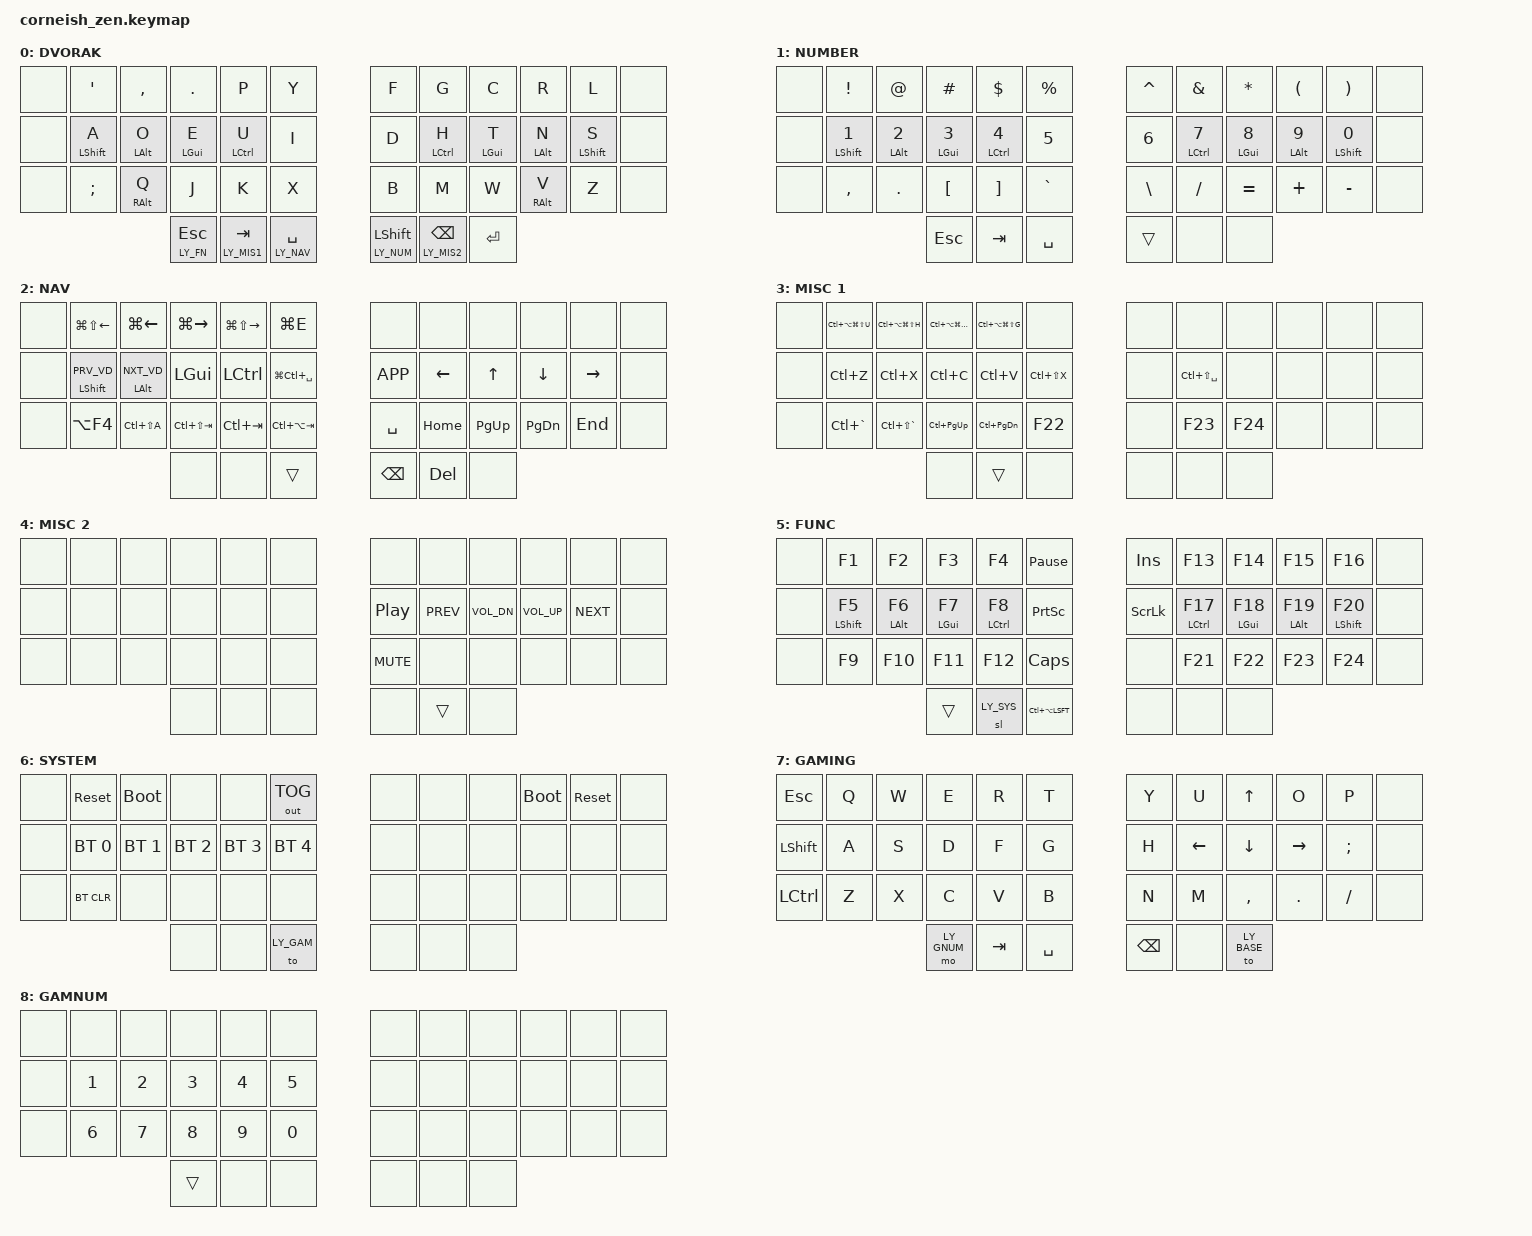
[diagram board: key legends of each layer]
#include <behaviors.dtsi>
#include <dt-bindings/zmk/bt.h>
#include <dt-bindings/zmk/keys.h>
#include <dt-bindings/zmk/outputs.h>

/ {
  chosen {
    zmk,matrix_transform = &default_transform;
    //zmk,matrix_transform = &five_column_transform;
  };
};

// User-friendly definitions for key positions
#include "../keypos_def/keypos_42keys.h"
#define KEYS_L LT0 LT1 LT2 LT3 LT4 LT5 LM0 LM1 LM2 LM3 LM4 LM5 LB0 LB1 LB2 LB3 LB4 LB5 // left-hand keys
#define KEYS_R RT0 RT1 RT2 RT3 RT4 RT5 RM0 RM1 RM2 RM3 RM4 RM5 RB0 RB1 RB2 RB3 RB4 RB5 // right-hand keys
#define THUMBS LH2 LH1 LH0 RH0 RH1 RH2                                                 // thumb keys

// Desktop and tab navigation shortcuts
#define PRV_VD  LC(LG(LEFT))
#define NXT_VD  LC(LG(RIGHT))
#define PRV_TAB LC(LS(TAB))
#define NXT_TAB LC(TAB)
#define GS_LFT  LG(LS(LEFT))
#define GS_RGT  LG(LS(RIGHT))
#define G_LFT   LG(LEFT)
#define G_RGT   LG(RIGHT)
#define CA_TAB  LC(LA(TAB))
#define CA_LSFT LC(LA(LSFT))
#define PS_BRK  PAUSE_BREAK // Just for brevity

// Application shortcuts
#define GIT_GRAPH LC(LA(LG(LS(G))))
#define FOLD_UP   LC(LA(LG(LS(U))))
#define FILE_HIST LC(LA(LG(LS(H))))
#define GH_PERMA  LC(LA(LG(LS(M))))
#define TERM      LC(GRAVE)
#define NEW_TERM  LC(LS(GRAVE))
#define PRV_TERM  LC(PG_UP)
#define NXT_TERM  LC(PG_DN)
#define OPSWD_BRW LC(LS(X))
#define OPSWD_WIN LC(LS(SPACE))
#define PTOYS_RUN LG(LC(SPACE))

// Layers
#define LY_BASE 0
#define LY_NUM  1
#define LY_NAV  2
#define LY_MIS1 3
#define LY_MIS2 4
#define LY_FN   5
#define LY_SYS  6
#define LY_GAM  7
#define LY_GNUM 8

// Configuration for sticky-key behavior
&sk {
  release-after-ms = <500>;
  quick-release;
};

// Configuration for home-row mods
#define QUICK_TAP_MS 100
#define REQUIRE_PRIOR_IDLE_MS 100
#define TAP_TERM_MS 200
/ {
  behaviors {
    // Homerow mod for left hand
    hml: hml {
      label = "ZB_hml";
      compatible = "zmk,behavior-hold-tap";
      #binding-cells = <2>;
      flavor = "tap-preferred";
      bindings = <&kp>, <&kp>;
      tapping-term-ms = <TAP_TERM_MS>;
      quick-tap-ms = <QUICK_TAP_MS>;
      require-prior-idle-ms = <REQUIRE_PRIOR_IDLE_MS>;
      hold-trigger-on-release;
      hold-trigger-key-positions = <KEYS_R THUMBS>;
    };

    // Homerow mod for right hand
    hmr: hmr {
      label = "ZB_hmr";
      compatible = "zmk,behavior-hold-tap";
      #binding-cells = <2>;
      flavor = "tap-preferred";
      bindings = <&kp>, <&kp>;
      tapping-term-ms = <TAP_TERM_MS>;
      quick-tap-ms = <QUICK_TAP_MS>;
      require-prior-idle-ms = <REQUIRE_PRIOR_IDLE_MS>;
      hold-trigger-on-release;
      hold-trigger-key-positions = <KEYS_L THUMBS>;
    };

    td_layers: td_layers {
      compatible = "zmk,behavior-tap-dance";
      label = "TD_LAYERS";
      #binding-cells = <0>;
      tapping-term-ms = <200>;
      bindings = <&to LY_BASE>, <&to LY_GAM>;
    };

    // Momentary layer or sticky key, for right thumb
    mo_sk: mo_sk {
      label = "ZB_mo_sk";
      compatible = "zmk,behavior-hold-tap";
      #binding-cells = <2>;
      flavor = "tap-preferred";
      bindings = <&mo>, <&sk>;
      tapping-term-ms = <TAP_TERM_MS>;
    };
  };
};

/ {
  macros {
//     ZMK_MACRO(term,
//       wait-ms = <20>;
//       tap-ms = <20>;
//       bindings = <&macro_press &kp LCTRL>
//                , <&macro_tap &kp GRAVE>
//                , <&macro_release &kp LCTRL>;
//     )
    };
};

// ¯\_(ツ)_/¯

// Thumb keys for base layer
#define THUMB1 &lt LY_FN ESC
#define THUMB2 &lt LY_MIS1 TAB
#define THUMB3 &lt LY_NAV SPACE
#define THUMB4 &mo_sk LY_NUM LSHFT
#define THUMB5 &lt LY_MIS2 BSPC
#define THUMB6 &kp ENTER

#define NAV_LM4 &mt LSHFT PRV_VD
#define NAV_LM3 &mt LALT NXT_VD

/ {
    combos {
        compatible = "zmk,combos";

        // Caps word on main thumb keys
        combo_caps_word {
            timeout-ms = <50>;
            key-positions = <LH0 RH0>;
            bindings = <&caps_word>;
        };
    };
};

/ {
  keymap {
    compatible = "zmk,keymap";

// &out OUT_TOG
// OUT_USB	Prefer sending to USB
// OUT_BLE	Prefer sending to the current bluetooth profile
// OUT_TOG	Toggle between USB and BLE

// Mouse keys
// https://github.com/manna-harbour/miryoku_zmk#mouse-keys
// https://github.com/doththouevenhoist/zmk-config-Corne-ish-Zen/blob/4cafe5ca22919e84e826a7413b5f4b092ada6730/config/corne-ish_zen.keymap#L10

    base_layer {
      label = "DVORAK";
      bindings = <
      // ╭─────────────┬─────────────┬─────────────┬─────────────┬─────────────┬─────────────╮ ╭─────────────┬─────────────┬─────────────┬─────────────┬─────────────┬─────────────╮
      // ├             ┼      '      ┼      ,      ┼      .      ┼      P      ┼      Y      ┤ ├      F      ┼      G      ┼      C      ┼      R      ┼      L      ┼             ┤
      // ├─────────────┼─────────────┼─────────────┼─────────────┼─────────────┼─────────────┤ ├─────────────┼─────────────┼─────────────┼─────────────┼─────────────┼─────────────┤
      // ├             ┼  LSHFT / A  ┼  LALT / O   ┼  LGUI / E   ┼  LCTRL / U  ┼      I      ┤ ├      D      ┼  LCTRL / H  ┼  LGUI / T   ┼  LALT / N   ┼  LSHFT / S  ┼             ┤
      // ├─────────────┼─────────────┼─────────────┼─────────────┼─────────────┼─────────────┤ ├─────────────┼─────────────┼─────────────┼─────────────┼─────────────┼─────────────┤
      // ├             ┼      ;      ┼  RALT / Q   ┼      J      ┼      K      ┼      X      ┤ ├      B      ┼      M      ┼      W      ┼  RALT / V   ┼      Z      ┼             ┤
      // ╰───────────────────────────┴─────────────┼─────────────┼─────────────┼─────────────┤ ├─────────────┼─────────────┼─────────────┼─────────────┴───────────────────────────╯
      //                                           ├ ESC / LY_FN ┼ TAB / LY_MS1┼ SPC / LY_NAV┤ ├ SS / LY_NUM ┼BKSP / LY_MS2┼    ENTER    ┤
      //                                           ╰─────────────┴─────────────┴─────────────╯ ╰─────────────┴─────────────┴─────────────╯
          &none         &kp SQT       &kp COMMA     &kp DOT       &kp P         &kp Y           &kp F         &kp G         &kp C         &kp R         &kp L         &none
          &none         &hml LSHFT A  &hml LALT O   &hml LGUI E   &hml LCTRL U  &kp I           &kp D         &hmr LCTRL H  &hmr LGUI T   &hmr LALT N   &hmr LSHFT S  &none
          &none         &kp SEMI      &hml RALT Q   &kp J         &kp K         &kp X           &kp B         &kp M         &kp W         &hmr RALT V   &kp Z         &none
                                                    THUMB1        THUMB2        THUMB3          THUMB4        THUMB5        THUMB6
      >;
    };

    numbers_layer {
      label = "NUMBER";
      bindings = <
      // ╭─────────────┬─────────────┬─────────────┬─────────────┬─────────────┬─────────────╮ ╭─────────────┬─────────────┬─────────────┬─────────────┬─────────────┬─────────────╮
      // ├             ┼      !      ┼      @      ┼      #      ┼      $      ┼      %      ┤ ├      ^      ┼      &      ┼      *      ┼      (      ┼      )      ┼             ┤
      // ├─────────────┼─────────────┼─────────────┼─────────────┼─────────────┼─────────────┤ ├─────────────┼─────────────┼─────────────┼─────────────┼─────────────┼─────────────┤
      // ├             ┼  LSHFT / 1  ┼  LALT / 2   ┼  LGUI / 3   ┼  LCTRL / 4  ┼      5      ┤ ├      6      ┼  LCTRL / 7  ┼  LGUI / 8   ┼  LALT / 9   ┼  LSHFT / 0  ┼             ┤
      // ├─────────────┼─────────────┼─────────────┼─────────────┼─────────────┼─────────────┤ ├─────────────┼─────────────┼─────────────┼─────────────┼─────────────┼─────────────┤
      // ├             ┼      ,      ┼      .      ┼      [      ┼      ]      ┼      `      ┤ ├      \      ┼      /      ┼      =      ┼      +      ┼      -      ┼             ┤
      // ╰───────────────────────────┴─────────────┼─────────────┼─────────────┼─────────────┤ ├─────────────┼─────────────┼─────────────┼─────────────┴───────────────────────────╯
      //                                           ├     ESC     ┼     TAB     ┼    SPACE    ┤ ├ // HELD //  ┼             ┼             ┤
      //                                           ╰─────────────┴─────────────┴─────────────╯ ╰─────────────┴─────────────┴─────────────╯
          &none         &kp EXCL      &kp AT        &kp HASH      &kp DOLLAR    &kp PERCENT     &kp CARET     &kp AMPS      &kp ASTRK     &kp LPAR      &kp RPAR       &none
          &none         &hml LSHFT N1 &hml LALT N2  &hml LGUI N3  &hml LCTRL N4 &kp N5          &kp N6        &hmr LCTRL N7 &hmr LGUI N8  &hmr LALT N9  &hmr LSHFT N0  &none
          &none         &kp COMMA     &kp DOT       &kp LBKT      &kp RBKT      &kp GRAVE       &kp BSLH      &kp FSLH      &kp EQUAL     &kp PLUS      &kp MINUS      &none
                                                    &kp ESC       &kp TAB       &kp SPACE       &trans        &none         &none
      >;
    };

    nav_layer {
      label = "NAV";
      bindings = <
      // ╭─────────────┬─────────────┬─────────────┬─────────────┬─────────────┬─────────────╮ ╭─────────────┬─────────────┬─────────────┬─────────────┬─────────────┬─────────────╮
      // ├             ┼ WIN PRV MON ┼ SNP WIN LFT ┼ SNP WIN RGT ┼ WIN NXT MON ┼ Win Explorer┤ ├             ┼             ┼             ┼             ┼             ┼             ┤
      // ├─────────────┼─────────────┼─────────────┼─────────────┼─────────────┼─────────────┤ ├─────────────┼─────────────┼─────────────┼─────────────┼─────────────┼─────────────┤
      // ├             ┼ LSHFT/PRV_VD┼ LALT/NXT_VD ┼     LGUI    ┼    LCTRL    ┼ PwrToys Run ┤ ├ CONTEXT MENU┼    LEFT     ┼     UP      ┼     DOWN    ┼    RIGHT    ┼             ┤
      // ├─────────────┼─────────────┼─────────────┼─────────────┼─────────────┼─────────────┤ ├─────────────┼─────────────┼─────────────┼─────────────┼─────────────┼─────────────┤
      // ├             ┼  Alt + F4   ┼  Tab search ┼  PREV TAB   ┼  NEXT TAB   ┼ CTRL ALT TAB┤ ├     SPC     ┼    HOME     ┼   PAGE UP   ┼  PAGE DOWN  ┼     END     ┼             ┤
      // ╰───────────────────────────┴─────────────┼─────────────┼─────────────┼─────────────┤ ├─────────────┼─────────────┼─────────────┼─────────────┴───────────────────────────╯
      //                                           ├             ┼             ┼ // HELD //  ┤ ├     BKSP    ┼     DEL     ┼             ┤
      //                                           ╰─────────────┴─────────────┴─────────────╯ ╰─────────────┴─────────────┴─────────────╯
          &none         &kp GS_LFT    &kp G_LFT     &kp G_RGT     &kp GS_RGT    &kp LG(E)       &none         &none         &none         &none         &none         &none
          &none         NAV_LM4       NAV_LM3       &kp LGUI      &kp LCTRL     &kp PTOYS_RUN   &kp K_APP     &kp LEFT      &kp UP        &kp DOWN      &kp RIGHT     &none
          &none         &kp LA(F4)    &kp LC(LS(A)) &kp PRV_TAB   &kp NXT_TAB   &kp CA_TAB      &kp SPACE     &kp HOME      &kp PG_UP     &kp PG_DN     &kp END       &none
                                                    &none         &none         &trans          &kp BSPC      &kp DEL       &none
      >;
    };

    misc1_layer {
      label = "MISC 1";
      bindings = <
      // ╭─────────────┬─────────────┬─────────────┬─────────────┬─────────────┬─────────────╮ ╭─────────────┬─────────────┬─────────────┬─────────────┬─────────────┬─────────────╮
      // ├             ┼ Next Fold Up┼  File Hist  ┼ GH Permalink┼  Git Graph  ┼             ┤ ├             ┼             ┼             ┼             ┼             ┼             ┤
      // ├─────────────┼─────────────┼─────────────┼─────────────┼─────────────┼─────────────┤ ├─────────────┼─────────────┼─────────────┼─────────────┼─────────────┼─────────────┤
      // ├             ┼    Undo     ┼     Cut     ┼    Copy     ┼    Paste    ┼  1Pswd Brw  ┤ ├             ┼  1Pswd Win  ┼             ┼             ┼             ┼             ┤
      // ├─────────────┼─────────────┼─────────────┼─────────────┼─────────────┼─────────────┤ ├─────────────┼─────────────┼─────────────┼─────────────┼─────────────┼─────────────┤
      // ├             ┼  Terminal   ┼  New Term   ┼  Prev Term  ┼  Next Term  ┼ ToggleFocus ┤ ├             ┼ Trm Height+ ┼ Trm Height- ┼             ┼             ┼             ┤
      // ╰───────────────────────────┴─────────────┼─────────────┼─────────────┼─────────────┤ ├─────────────┼─────────────┼─────────────┼─────────────┴───────────────────────────╯
      //                                           ├             ┼ // HELD //  ┼             ┤ ├             ┼             ┼             ┤
      //                                           ╰─────────────┴─────────────┴─────────────╯ ╰─────────────┴─────────────┴─────────────╯
          &none         &kp FOLD_UP   &kp FILE_HIST &kp GH_PERMA  &kp GIT_GRAPH &none           &none         &none         &none         &none         &none         &none
          &none         &kp LC(Z)     &kp LC(X)     &kp LC(C)     &kp LC(V)     &kp OPSWD_BRW   &none         &kp OPSWD_WIN &none         &none         &none         &none
          &none         &kp TERM      &kp NEW_TERM  &kp PRV_TERM  &kp NXT_TERM  &kp F22         &none         &kp F23       &kp F24       &none         &none         &none
                                                    &none         &trans        &none           &none         &none         &none
      >;
    };

    misc2_layer {
      label = "MISC 2";
      bindings = <
      // ╭─────────────┬─────────────┬─────────────┬─────────────┬─────────────┬─────────────╮ ╭─────────────┬─────────────┬─────────────┬─────────────┬─────────────┬─────────────╮
      // ├             ┼             ┼             ┼             ┼             ┼             ┤ ├             ┼             ┼             ┼             ┼             ┼             ┤
      // ├─────────────┼─────────────┼─────────────┼─────────────┼─────────────┼─────────────┤ ├─────────────┼─────────────┼─────────────┼─────────────┼─────────────┼─────────────┤
      // ├             ┼             ┼             ┼             ┼             ┼             ┤ ├ Play/Pause  ┼ Media Prev  ┼  Vol Down   ┼   Vol Up    ┼ Media Next  ┼             ┤
      // ├─────────────┼─────────────┼─────────────┼─────────────┼─────────────┼─────────────┤ ├─────────────┼─────────────┼─────────────┼─────────────┼─────────────┼─────────────┤
      // ├             ┼             ┼             ┼             ┼             ┼             ┤ ├    Mute     ┼             ┼             ┼             ┼             ┼             ┤
      // ╰───────────────────────────┴─────────────┼─────────────┼─────────────┼─────────────┤ ├─────────────┼─────────────┼─────────────┼─────────────┴───────────────────────────╯
      //                                           ├             ┼             ┼             ┤ ├             ┼ // HELD //  ┼             ┤
      //                                           ╰─────────────┴─────────────┴─────────────╯ ╰─────────────┴─────────────┴─────────────╯
          &none         &none         &none         &none         &none         &none           &none         &none         &none         &none         &none         &none
          &none         &none         &none         &none         &none         &none           &kp C_PP      &kp C_PREV    &kp C_VOL_DN  &kp C_VOL_UP  &kp C_NEXT    &none
          &none         &none         &none         &none         &none         &none           &kp C_MUTE    &none         &none         &none         &none         &none
                                                    &none         &none         &none           &none         &trans        &none
      >;
    };

    function_layer {
      label = "FUNC";
      bindings = <
      // ╭─────────────┬─────────────┬─────────────┬─────────────┬─────────────┬─────────────╮ ╭─────────────┬─────────────┬─────────────┬─────────────┬─────────────┬─────────────╮
      // ├             ┼     F1      ┼     F2      ┼     F3      ┼     F4      ┼  Pause/Brk  ┤ ├   INSERT    ┼     F13     ┼     F14     ┼     F15     ┼     F16     ┼             ┤
      // ├─────────────┼─────────────┼─────────────┼─────────────┼─────────────┼─────────────┤ ├─────────────┼─────────────┼─────────────┼─────────────┼─────────────┼─────────────┤
      // ├             ┼  LCTRL / F5 ┼  LGUI / F6  ┼  LALT / F7  ┼ LSHFT / F8  ┼ PrintScreen ┤ ├ Scroll Lock ┼ LCTRL / F17 ┼  LGUI / F18 ┼  LALT / F19 ┼ LSHFT / F20 ┼             ┤
      // ├─────────────┼─────────────┼─────────────┼─────────────┼─────────────┼─────────────┤ ├─────────────┼─────────────┼─────────────┼─────────────┼─────────────┼─────────────┤
      // ├             ┼     F9      ┼     F10     ┼     F11     ┼     F12     ┼  CAPS LOCK  ┤ ├             ┼     F21     ┼     F22     ┼     F23     ┼     F24     ┼             ┤
      // ╰───────────────────────────┴─────────────┼─────────────┼─────────────┼─────────────┤ ├─────────────┼─────────────┼─────────────┼─────────────┴───────────────────────────╯
      //                                           ├ // HELD //  ┼ System Layer┼ Discord PTT ┤ ├             ┼             ┼             ┤
      //                                           ╰─────────────┴─────────────┴─────────────╯ ╰─────────────┴─────────────┴─────────────╯
          &none         &kp F1        &kp F2        &kp F3        &kp F4        &kp PS_BRK      &kp INSERT    &kp F13        &kp F14       &kp F15       &kp F16       &none
          &none         &hml LSHFT F5 &hml LALT F6  &hml LGUI F7  &hml LCTRL F8 &kp PSCRN       &kp SLCK      &hmr LCTRL F17 &hmr LGUI F18 &hmr LALT F19 &hmr LSHFT F20 &none
          &none         &kp F9        &kp F10       &kp F11       &kp F12       &kp CAPS        &none         &kp F21        &kp F22       &kp F23       &kp F24       &none
                                                    &trans        &sl LY_SYS    &kp CA_LSFT     &none         &none          &none
      >;
    };

    system_layer {
      label = "SYSTEM";
      bindings = <
      // NOTE: &sys_reset and &bootloader need to be directly bound to a key for locality (correct half affected) to work, see https://github.com/zmkfirmware/zmk/issues/1494
      // ╭─────────────┬─────────────┬─────────────┬─────────────┬─────────────┬─────────────╮ ╭─────────────┬─────────────┬─────────────┬─────────────┬─────────────┬─────────────╮
      // ├             ┼    Reset    ┼ Bootloader  ┼             ┼             ┼ Out Toggle  ┤ ├             ┼             ┼             ┼ Bootloader  ┼    Reset    ┼             ┤
      // ├─────────────┼─────────────┼─────────────┼─────────────┼─────────────┼─────────────┤ ├─────────────┼─────────────┼─────────────┼─────────────┼─────────────┼─────────────┤
      // ├             ┼ BT prof 1   ┼ BT prof 2   ┼ BT prof 3   ┼ BT prof 4   ┼ BT prof 5   ┤ ├             ┼             ┼             ┼             ┼             ┼             ┤
      // ├─────────────┼─────────────┼─────────────┼─────────────┼─────────────┼─────────────┤ ├─────────────┼─────────────┼─────────────┼─────────────┼─────────────┼─────────────┤
      // ├             ┼ Clr BT prof ┼             ┼             ┼             ┼             ┤ ├             ┼             ┼             ┼             ┼             ┼             ┤
      // ╰───────────────────────────┴─────────────┼─────────────┼─────────────┼─────────────┤ ├─────────────┼─────────────┼─────────────┼─────────────┴───────────────────────────╯
      //                                           ├             ┼             ┼ GAME LAYER  ┤ ├             ┼             ┼             ┤
      //                                           ╰─────────────┴─────────────┴─────────────╯ ╰─────────────┴─────────────┴─────────────╯
          &none         &sys_reset    &bootloader   &none         &none         &out OUT_TOG    &none         &none         &none         &bootloader   &sys_reset    &none
          &none         &bt BT_SEL 0  &bt BT_SEL 1  &bt BT_SEL 2  &bt BT_SEL 3  &bt BT_SEL 4    &none         &none         &none         &none         &none         &none
          &none         &bt BT_CLR    &none         &none         &none         &none           &none         &none         &none         &none         &none         &none
                                                    &none         &none         &to LY_GAM      &none         &none         &none
      >;
    };

    gaming_layer {
      label = "GAMING";
      bindings = <
      // ╭─────────────┬─────────────┬─────────────┬─────────────┬─────────────┬─────────────╮ ╭─────────────┬─────────────┬─────────────┬─────────────┬─────────────┬─────────────╮
      // ├     ESC     ┼      Q      ┼      W      ┼      E      ┼      R      ┼      T      ┤ ├      Y      ┼      U      ┼     Up      ┼      O      ┼      P      ┼             ┤
      // ├─────────────┼─────────────┼─────────────┼─────────────┼─────────────┼─────────────┤ ├─────────────┼─────────────┼─────────────┼─────────────┼─────────────┼─────────────┤
      // ├    LSHFT    ┼      A      ┼      S      ┼      D      ┼      F      ┼      G      ┤ ├      H      ┼     Left    ┼    Down     ┼    Right    ┼      ;      ┼             ┤
      // ├─────────────┼─────────────┼─────────────┼─────────────┼─────────────┼─────────────┤ ├─────────────┼─────────────┼─────────────┼─────────────┼─────────────┼─────────────┤
      // ├    LCTRL    ┼      Z      ┼      X      ┼      C      ┼      V      ┼      B      ┤ ├      N      ┼      M      ┼      ,      ┼      .      ┼      /      ┼             ┤
      // ╰───────────────────────────┴─────────────┼─────────────┼─────────────┼─────────────┤ ├─────────────┼─────────────┼─────────────┼─────────────┴───────────────────────────╯
      //                                           ├  Num Layer  ┼     TAB     ┼    SPACE    ┤ ├    BKSP     ┼             ┼ BACK TO L0  ┤
      //                                           ╰─────────────┴─────────────┴─────────────╯ ╰─────────────┴─────────────┴─────────────╯
          &kp ESC       &kp Q         &kp W         &kp E         &kp R         &kp T           &kp Y         &kp U         &kp UP        &kp O         &kp P         &none
          &kp LSHFT     &kp A         &kp S         &kp D         &kp F         &kp G           &kp H         &kp LEFT      &kp DOWN      &kp RIGHT     &kp SEMI      &none
          &kp LCTRL     &kp Z         &kp X         &kp C         &kp V         &kp B           &kp N         &kp M         &kp COMMA     &kp DOT       &kp FSLH      &none
                                                    &mo LY_GNUM   &kp TAB       &kp SPACE       &kp BSPC      &none         &to LY_BASE
      >;
    };

    gaming_numbers_layer {
      label = "GAMNUM";
      bindings = <
      // ╭─────────────┬─────────────┬─────────────┬─────────────┬─────────────┬─────────────╮ ╭─────────────┬─────────────┬─────────────┬─────────────┬─────────────┬─────────────╮
      // ├             ┼             ┼             ┼             ┼             ┼             ┤ ├             ┼             ┼             ┼             ┼             ┼             ┤
      // ├─────────────┼─────────────┼─────────────┼─────────────┼─────────────┼─────────────┤ ├─────────────┼─────────────┼─────────────┼─────────────┼─────────────┼─────────────┤
      // ├             ┼      1      ┼      2      ┼      3      ┼      4      ┼      5      ┤ ├             ┼             ┼             ┼             ┼             ┼             ┤
      // ├─────────────┼─────────────┼─────────────┼─────────────┼─────────────┼─────────────┤ ├─────────────┼─────────────┼─────────────┼─────────────┼─────────────┼─────────────┤
      // ├             ┼      6      ┼      7      ┼      8      ┼      9      ┼      0      ┤ ├             ┼             ┼             ┼             ┼             ┼             ┤
      // ╰───────────────────────────┴─────────────┼─────────────┼─────────────┼─────────────┤ ├─────────────┼─────────────┼─────────────┼─────────────┴───────────────────────────╯
      //                                           ├  // HELD // ┼             ┼             ┤ ├             ┼             ┼             ┤
      //                                           ╰─────────────┴─────────────┴─────────────╯ ╰─────────────┴─────────────┴─────────────╯
          &none         &none          &none          &none        &none         &none           &none         &none         &none         &none          &none          &none
          &none         &kp N1         &kp N2         &kp N3       &kp N4        &kp N5          &none         &none         &none         &none          &none          &none
          &none         &kp N6         &kp N7         &kp N8       &kp N9        &kp N0          &none         &none         &none         &none          &none          &none
                                                      &trans       &none         &none           &none         &none         &none
      >;
    };

    // template_layer {
    //   label = "TEMPLATE";
    //   bindings = <
    //   // ╭─────────────┬─────────────┬─────────────┬─────────────┬─────────────┬─────────────╮ ╭─────────────┬─────────────┬─────────────┬─────────────┬─────────────┬─────────────╮
    //   // ├             ┼             ┼             ┼             ┼             ┼             ┤ ├             ┼             ┼             ┼             ┼             ┼             ┤
    //   // ├─────────────┼─────────────┼─────────────┼─────────────┼─────────────┼─────────────┤ ├─────────────┼─────────────┼─────────────┼─────────────┼─────────────┼─────────────┤
    //   // ├             ┼             ┼             ┼             ┼             ┼             ┤ ├             ┼             ┼             ┼             ┼             ┼             ┤
    //   // ├─────────────┼─────────────┼─────────────┼─────────────┼─────────────┼─────────────┤ ├─────────────┼─────────────┼─────────────┼─────────────┼─────────────┼─────────────┤
    //   // ├             ┼             ┼             ┼             ┼             ┼             ┤ ├             ┼             ┼             ┼             ┼             ┼             ┤
    //   // ╰───────────────────────────┴─────────────┼─────────────┼─────────────┼─────────────┤ ├─────────────┼─────────────┼─────────────┼─────────────┴───────────────────────────╯
    //   //                                           ├             ┼             ┼             ┤ ├             ┼             ┼             ┤
    //   //                                           ╰─────────────┴─────────────┴─────────────╯ ╰─────────────┴─────────────┴─────────────╯
    //       &none         &none         &none         &none         &none         &none           &none         &none         &none         &none         &none         &none
    //       &none         &none         &none         &none         &none         &none           &none         &none         &none         &none         &none         &none
    //       &none         &none         &none         &none         &none         &none           &none         &none         &none         &none         &none         &none
    //                                                 &none         &none         &none           &none         &none         &none
    //   >;
    // };
  };
};
